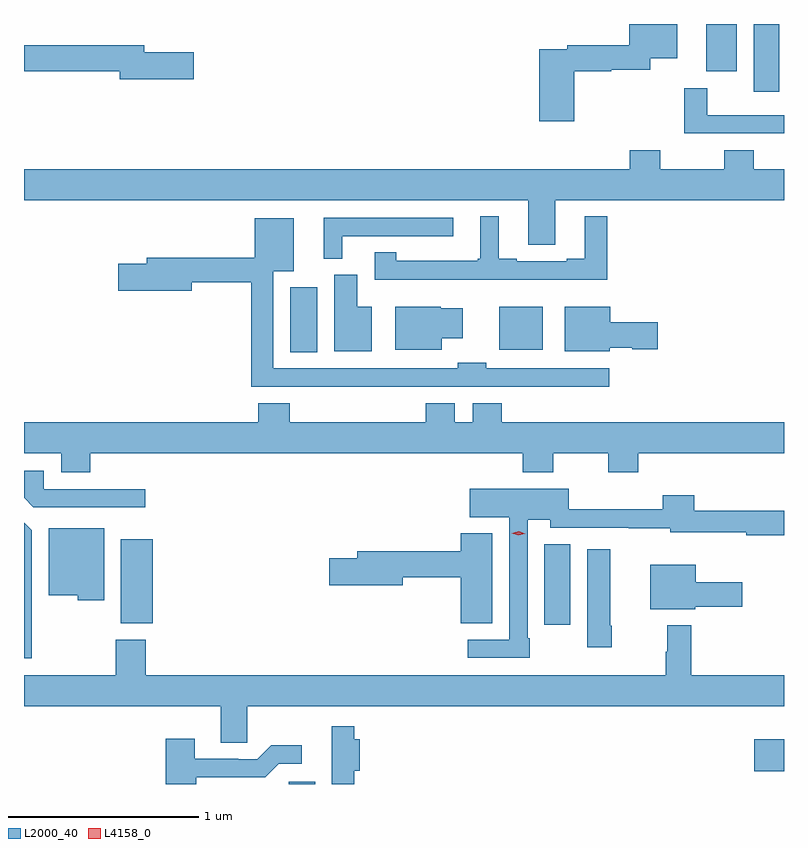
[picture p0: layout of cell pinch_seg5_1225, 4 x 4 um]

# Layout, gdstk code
import gdstk
lib = gdstk.Library(unit=1e-6, precision=1e-09)
def R(c, l, rs):  # rectangles x0, y0, x1, y1
    for r in rs: c.add(gdstk.rectangle(r[:2], r[2:], *l))
def P(c, l, *ps):  # polygons
    for p in ps: c.add(gdstk.Polygon(p, *l))
L2000_40 = (2000, 40)
L4158_0 = (4158, 0)

pinch_seg5_1225 = lib.new_cell('pinch_seg5_1225')
R(pinch_seg5_1225, L2000_40, [(422.865,878.996,423.004,879.009), (425.316,879.062,425.472,879.232), (424.211,879.834,424.348,880.259), (421.982,879.841,422.15,880.285), (422.873,881.269,423.016,881.611), (423.974,881.282,424.201,881.509), (425.312,882.639,425.446,882.996), (425.063,882.747,425.224,882.996)])
P(pinch_seg5_1225, L2000_40, [(424.367,882.748),(424.562,882.748),(424.562,882.756),(424.768,882.756),(424.768,882.815),(424.909,882.815),(424.909,882.996),(424.658,882.996),(424.658,882.884),(424.33,882.884),(424.33,882.864),(424.184,882.864),(424.184,882.483),(424.367,882.483)],
  [(422.365,882.848),(422.104,882.848),(422.104,882.884),(421.472,882.884),(421.472,882.748),(421.976,882.748),(421.976,882.706),(422.365,882.706)],
  [(425.472,882.516),(425.067,882.516),(425.067,882.658),(424.948,882.658),(424.948,882.42),(425.472,882.42)],
  [(424.267,882.068),(425.472,882.068),(425.472,882.232),(425.313,882.232),(425.313,882.331),(425.158,882.331),(425.158,882.232),(424.821,882.232),(424.821,882.331),(424.661,882.331),(424.661,882.232),(421.472,882.232),(421.472,882.068),(424.127,882.068),(424.127,881.833),(424.267,881.833)],
  [(424.541,881.983),(424.424,881.983),(424.424,881.761),(424.328,881.761),(424.328,881.748),(424.066,881.748),(424.066,881.761),(423.97,881.761),(423.97,881.983),(423.872,881.983),(423.872,881.761),(423.861,881.761),(423.861,881.749),(423.431,881.749),(423.431,881.795),(423.318,881.795),(423.318,881.651),(424.541,881.651)],
  [(423.148,881.88),(423.73,881.88),(423.73,881.976),(423.05,881.976),(423.05,881.761),(423.148,881.761)],
  [(423.503,881.088),(424.006,881.088),(424.006,881.087),(424.552,881.087),(424.552,881.184),(423.906,881.184),(423.906,881.212),(423.756,881.212),(423.756,881.184),(422.784,881.184),(422.784,881.696),(422.893,881.696),(422.893,881.974),(422.687,881.974),(422.687,881.767),(422.117,881.767),(422.117,881.733),(421.968,881.733),(421.968,881.591),(422.356,881.591),(422.356,881.638),(422.668,881.638),(422.668,881.088),(422.953,881.088),(422.953,881.087),(423.503,881.087)],
  [(423.301,881.509),(423.226,881.509),(423.226,881.676),(423.104,881.676),(423.104,881.273),(423.301,881.273)],
  [(424.554,881.291),(424.674,881.291),(424.674,881.284),(424.807,881.284),(424.807,881.426),(424.558,881.426),(424.558,881.509),(424.319,881.509),(424.319,881.273),(424.554,881.273)],
  [(423.67,881.342),(423.781,881.342),(423.781,881.5),(423.666,881.5),(423.666,881.509),(423.425,881.509),(423.425,881.282),(423.67,881.282)],
  [(421.82,880.736),(424.097,880.736),(424.097,880.637),(424.257,880.637),(424.257,880.736),(424.546,880.736),(424.546,880.637),(424.706,880.637),(424.706,880.736),(425.472,880.736),(425.472,880.9),(423.986,880.9),(423.986,880.999),(423.833,880.999),(423.833,880.9),(423.739,880.9),(423.739,880.999),(423.587,880.999),(423.587,880.9),(422.87,880.9),(422.87,880.999),(422.705,880.999),(422.705,880.9),(421.472,880.9),(421.472,880.736),(421.667,880.736),(421.667,880.637),(421.82,880.637)],
  [(422.11,880.548),(421.575,880.548),(421.575,880.644),(421.472,880.644),(421.472,880.502),(421.521,880.452),(422.11,880.452)],
  [(424.135,879.763),(424.122,879.763),(424.122,880.388),(424.242,880.388),(424.242,880.344),(424.654,880.344),(424.654,880.343),(424.872,880.343),(424.872,880.321),(425.272,880.321),(425.272,880.306),(425.472,880.306),(425.472,880.435),(425,880.435),(425,880.516),(424.835,880.516),(424.835,880.442),(424.338,880.442),(424.338,880.549),(423.819,880.549),(423.819,880.4),(424.026,880.4),(424.026,879.756),(423.807,879.756),(423.807,879.66),(424.135,879.66)],
  [(421.513,880.331),(421.472,880.372),(421.472,879.659),(421.513,879.659)],
  [(421.894,880.342),(421.601,880.342),(421.601,879.989),(421.755,879.989),(421.755,879.962),(421.894,879.962)],
  [(423.937,880.315),(423.77,880.315),(423.77,880.22),(423.227,880.22),(423.227,880.184),(423.078,880.184),(423.078,880.042),(423.466,880.042),(423.466,880.084),(423.77,880.084),(423.77,879.841),(423.937,879.841)],
  [(424.566,879.829),(424.558,879.829),(424.558,880.231),(424.436,880.231),(424.436,879.717),(424.566,879.717)],
  [(425.004,879.928),(425.251,879.928),(425.251,880.057),(425.008,880.057),(425.008,880.15),(424.769,880.15),(424.769,879.917),(425.004,879.917)],
  [(422.646,879.404),(425.472,879.404),(425.472,879.568),(424.985,879.568),(424.985,879.832),(424.857,879.832),(424.857,879.692),(424.849,879.692),(424.849,879.568),(422.114,879.568),(422.114,879.756),(421.954,879.756),(421.954,879.568),(421.472,879.568),(421.472,879.404),(422.507,879.404),(422.507,879.214),(422.646,879.214)],
  [(423.209,879.067),(423.239,879.067),(423.239,879.232),(423.209,879.232),(423.209,879.301),(423.092,879.301),(423.092,879.078),(423.093,879.078),(423.093,878.996),(423.209,878.996)],
  [(422.379,879.032),(422.743,879.032),(422.814,879.102),(422.935,879.102),(422.935,879.199),(422.773,879.199),(422.7,879.126),(422.6,879.126),(422.6,879.129),(422.371,879.129),(422.371,879.235),(422.219,879.235),(422.219,878.996),(422.379,878.996)])
P(pinch_seg5_1225, L4158_0, [(424.074,880.305),(424.04,880.316),(424.04,880.316),(424.04,880.316),(424.075,880.325),(424.109,880.314),(424.11,880.314),(424.109,880.313)])

lib.write_gds('pinch_seg5_1225.gds')
